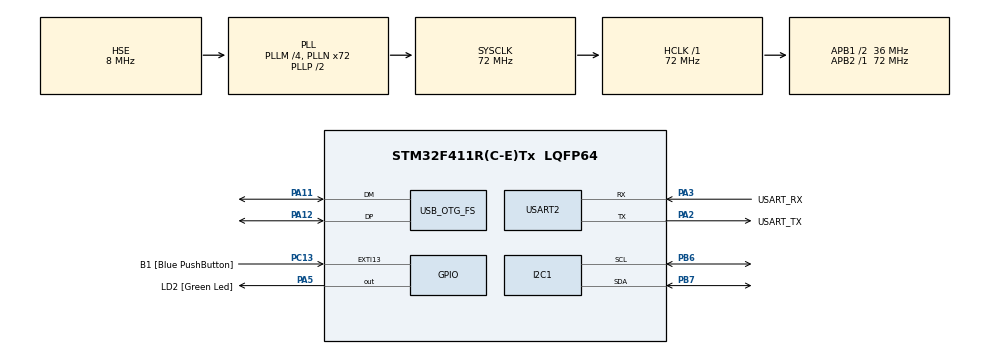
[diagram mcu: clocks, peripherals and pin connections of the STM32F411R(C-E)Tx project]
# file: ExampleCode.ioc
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FREERTOS.Events01=TasksInit,Dynamic,NULL
FREERTOS.Mutexes01=screenMutex,Dynamic,NULL,Available
FREERTOS.Queues01=screenQueue,8,TASK_SCREEN_MESSAGE_,0,Dynamic,NULL,NULL
FREERTOS.Tasks01=defaultTask,24,128,StartDefaultTask,Default,NULL,Dynamic,NULL,NULL;screenTask,8,128,StartScreenTask,Default,NULL,Dynamic,NULL,NULL
FREERTOS.configUSE_NEWLIB_REENTRANT=1
Mcu.Family=STM32F4
Mcu.Name=STM32F411R(C-E)Tx
Mcu.Package=LQFP64
NVIC.OTG_FS_IRQn=true\:5\:0\:false\:false\:true\:true\:false\:true\:true
NVIC.PriorityGroup=NVIC_PRIORITYGROUP_4
NVIC.TIM1_TRG_COM_TIM11_IRQn=true\:15\:0\:false\:false\:true\:false\:false\:true\:true
NVIC.TimeBase=TIM1_TRG_COM_TIM11_IRQn
NVIC.TimeBaseIP=TIM11
PA11.Mode=Device_Only
PA11.Signal=USB_OTG_FS_DM
PA12.Mode=Device_Only
PA12.Signal=USB_OTG_FS_DP
PA13.GPIO_Label=TMS
PA13.Mode=Serial_Wire
PA13.Signal=SYS_JTMS-SWDIO
PA14.GPIO_Label=TCK
PA14.Mode=Serial_Wire
PA14.Signal=SYS_JTCK-SWCLK
PA2.GPIO_Label=USART_TX
PA2.Mode=Asynchronous
PA2.Signal=USART2_TX
PA3.GPIO_Label=USART_RX
PA3.Mode=Asynchronous
PA3.Signal=USART2_RX
PA5.GPIO_Label=LD2 [Green Led]
PA5.Signal=GPIO_Output
PB3.GPIO_Label=SWO
PB3.Signal=SYS_JTDO-SWO
PB6.Mode=I2C
PB6.Signal=I2C1_SCL
PB7.Mode=I2C
PB7.Signal=I2C1_SDA
PC13-ANTI_TAMP.GPIO_Label=B1 [Blue PushButton]
PC13-ANTI_TAMP.GPIO_ModeDefaultEXTI=GPIO_MODE_IT_FALLING
PC13-ANTI_TAMP.Signal=GPXTI13
PC14-OSC32_IN.Mode=LSE-External-Oscillator
PC14-OSC32_IN.Signal=RCC_OSC32_IN
PC15-OSC32_OUT.Mode=LSE-External-Oscillator
PC15-OSC32_OUT.Signal=RCC_OSC32_OUT
PH0\ -\ OSC_IN.Mode=HSE-External-Clock-Source
PH0\ -\ OSC_IN.Signal=RCC_OSC_IN
PH1\ -\ OSC_OUT.Mode=HSE-External-Clock-Source
PH1\ -\ OSC_OUT.Signal=RCC_OSC_OUT
ProjectManager.HeapSize=0x200
ProjectManager.StackSize=0x400
ProjectManager.TargetToolchain=STM32CubeIDE
RCC.48MHZClocksFreq_Value=48000000
RCC.AHBFreq_Value=72000000
RCC.APB1CLKDivider=RCC_HCLK_DIV2
RCC.APB1Freq_Value=36000000
RCC.APB1TimFreq_Value=72000000
RCC.APB2Freq_Value=72000000
RCC.APB2TimFreq_Value=72000000
RCC.CortexFreq_Value=72000000
RCC.FLatency-AdvancedSettings=FLASH_LATENCY_2
RCC.HCLKFreq_Value=72000000
RCC.HSE_VALUE=8000000
RCC.HSI_VALUE=16000000
RCC.PLLM=4
RCC.PLLN=72
RCC.PLLQ=3
RCC.SYSCLKFreq_VALUE=72000000
RCC.SYSCLKSource=RCC_SYSCLKSOURCE_PLLCLK
RCC.VCOOutputFreq_Value=144000000
USART2.VirtualMode=VM_ASYNC
USB_DEVICE.CLASS_NAME_FS=CDC
USB_DEVICE.VirtualMode=Cdc
USB_DEVICE.VirtualModeFS=Cdc_FS
USB_OTG_FS.VirtualMode=Device_Only
VP_FREERTOS_VS_CMSIS_V2.Mode=CMSIS_V2
VP_SYS_VS_tim11.Mode=TIM11
VP_USB_DEVICE_VS_USB_DEVICE_CDC_FS.Mode=CDC_FS
board=NUCLEO-F411RE

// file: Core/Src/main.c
/* USER CODE BEGIN Header */
/**
  ******************************************************************************
  * @file           : main.c
  * @brief          : Main program body
  ******************************************************************************
  * @attention
  *
  * Copyright (c) 2024 STMicroelectronics.
  * All rights reserved.
  *
  * This software is licensed under terms that can be found in the LICENSE file
  * in the root directory of this software component.
  * If no LICENSE file comes with this software, it is provided AS-IS.
  *
  ******************************************************************************
  */
/* USER CODE END Header */
#include "main.h"
#include "cmsis_os.h"
#include "usb_device.h"

/* USER CODE BEGIN Includes */
#include "screen_task.h"
#include "stdio.h"
/* USER CODE END Includes */

/* USER CODE BEGIN PM */
#define TASK_SCREEN_INIT 0x00000001
#define TASKS_ALL TASK_SCREEN_INIT
/* USER CODE END PM */

I2C_HandleTypeDef hi2c1;

UART_HandleTypeDef huart2;

/* Definitions for defaultTask */
osThreadId_t defaultTaskHandle;
const osThreadAttr_t defaultTask_attributes = {
  .name = "defaultTask",
  .stack_size = 128 * 4,
  .priority = (osPriority_t) osPriorityNormal,
};
/* Definitions for screenTask */
osThreadId_t screenTaskHandle;
const osThreadAttr_t screenTask_attributes = {
  .name = "screenTask",
  .stack_size = 128 * 4,
  .priority = (osPriority_t) osPriorityLow,
};
/* Definitions for screenQueue */
osMessageQueueId_t screenQueueHandle;
const osMessageQueueAttr_t screenQueue_attributes = {
  .name = "screenQueue"
};
/* Definitions for screenMutex */
osMutexId_t screenMutexHandle;
const osMutexAttr_t screenMutex_attributes = {
  .name = "screenMutex"
};
/* Definitions for TasksInit */
osEventFlagsId_t TasksInitHandle;
const osEventFlagsAttr_t TasksInit_attributes = {
  .name = "TasksInit"
};

void SystemClock_Config(void);
static void MX_GPIO_Init(void);
static void MX_USART2_UART_Init(void);
static void MX_I2C1_Init(void);
void StartDefaultTask(void *argument);
void StartScreenTask(void *argument);

int main(void)
{

  /* MCU Configuration--------------------------------------------------------*/

  /* Reset of all peripherals, Initializes the Flash interface and the Systick. */
  HAL_Init();

  /* Configure the system clock */
  SystemClock_Config();

  /* Initialize all configured peripherals */
  MX_GPIO_Init();
  MX_USART2_UART_Init();
  MX_I2C1_Init();

  /* Init scheduler */
  osKernelInitialize();
  /* Create the mutex(es) */
  /* creation of screenMutex */
  screenMutexHandle = osMutexNew(&screenMutex_attributes);

  /* Create the queue(s) */
  /* creation of screenQueue */
  screenQueueHandle = osMessageQueueNew (8, sizeof(TASK_SCREEN_MESSAGE_), &screenQueue_attributes);

  /* Create the thread(s) */
  /* creation of defaultTask */
  defaultTaskHandle = osThreadNew(StartDefaultTask, NULL, &defaultTask_attributes);

  /* creation of screenTask */
  screenTaskHandle = osThreadNew(StartScreenTask, NULL, &screenTask_attributes);

  /* creation of TasksInit */
  TasksInitHandle = osEventFlagsNew(&TasksInit_attributes);

  /* Start scheduler */
  osKernelStart();

  /* We should never get here as control is now taken by the scheduler */

  /* Infinite loop */
  while (1)
  {

  }
}

void SystemClock_Config(void)
{
  RCC_OscInitTypeDef RCC_OscInitStruct = {0};
  RCC_ClkInitTypeDef RCC_ClkInitStruct = {0};

  /** Configure the main internal regulator output voltage
  */
  __HAL_RCC_PWR_CLK_ENABLE();
  __HAL_PWR_VOLTAGESCALING_CONFIG(PWR_REGULATOR_VOLTAGE_SCALE1);

  /** Initializes the RCC Oscillators according to the specified parameters
  * in the RCC_OscInitTypeDef structure.
  */
  RCC_OscInitStruct.OscillatorType = RCC_OSCILLATORTYPE_HSE;
  RCC_OscInitStruct.HSEState = RCC_HSE_BYPASS;
  RCC_OscInitStruct.PLL.PLLState = RCC_PLL_ON;
  RCC_OscInitStruct.PLL.PLLSource = RCC_PLLSOURCE_HSE;
  RCC_OscInitStruct.PLL.PLLM = 4;
  RCC_OscInitStruct.PLL.PLLN = 72;
  RCC_OscInitStruct.PLL.PLLP = RCC_PLLP_DIV2;
  RCC_OscInitStruct.PLL.PLLQ = 3;
  if (HAL_RCC_OscConfig(&RCC_OscInitStruct) != HAL_OK)
  {
    Error_Handler();
  }

  /** Initializes the CPU, AHB and APB buses clocks
  */
  RCC_ClkInitStruct.ClockType = RCC_CLOCKTYPE_HCLK|RCC_CLOCKTYPE_SYSCLK
                              |RCC_CLOCKTYPE_PCLK1|RCC_CLOCKTYPE_PCLK2;
  RCC_ClkInitStruct.SYSCLKSource = RCC_SYSCLKSOURCE_PLLCLK;
  RCC_ClkInitStruct.AHBCLKDivider = RCC_SYSCLK_DIV1;
  RCC_ClkInitStruct.APB1CLKDivider = RCC_HCLK_DIV2;
  RCC_ClkInitStruct.APB2CLKDivider = RCC_HCLK_DIV1;

  if (HAL_RCC_ClockConfig(&RCC_ClkInitStruct, FLASH_LATENCY_2) != HAL_OK)
  {
    Error_Handler();
  }
}

static void MX_I2C1_Init(void)
{

  hi2c1.Instance = I2C1;
  hi2c1.Init.ClockSpeed = 100000;
  hi2c1.Init.DutyCycle = I2C_DUTYCYCLE_2;
  hi2c1.Init.OwnAddress1 = 0;
  hi2c1.Init.AddressingMode = I2C_ADDRESSINGMODE_7BIT;
  hi2c1.Init.DualAddressMode = I2C_DUALADDRESS_DISABLE;
  hi2c1.Init.OwnAddress2 = 0;
  hi2c1.Init.GeneralCallMode = I2C_GENERALCALL_DISABLE;
  hi2c1.Init.NoStretchMode = I2C_NOSTRETCH_DISABLE;
  if (HAL_I2C_Init(&hi2c1) != HAL_OK)
  {
    Error_Handler();
  }

}

static void MX_USART2_UART_Init(void)
{

  huart2.Instance = USART2;
  huart2.Init.BaudRate = 115200;
  huart2.Init.WordLength = UART_WORDLENGTH_8B;
  huart2.Init.StopBits = UART_STOPBITS_1;
  huart2.Init.Parity = UART_PARITY_NONE;
  huart2.Init.Mode = UART_MODE_TX_RX;
  huart2.Init.HwFlowCtl = UART_HWCONTROL_NONE;
  huart2.Init.OverSampling = UART_OVERSAMPLING_16;
  if (HAL_UART_Init(&huart2) != HAL_OK)
  {
    Error_Handler();
  }

}

static void MX_GPIO_Init(void)
{
  GPIO_InitTypeDef GPIO_InitStruct = {0};

  /* GPIO Ports Clock Enable */
  __HAL_RCC_GPIOC_CLK_ENABLE();
  __HAL_RCC_GPIOH_CLK_ENABLE();
  __HAL_RCC_GPIOA_CLK_ENABLE();
  __HAL_RCC_GPIOB_CLK_ENABLE();

  /*Configure GPIO pin Output Level */
  HAL_GPIO_WritePin(LD2_GPIO_Port, LD2_Pin, GPIO_PIN_RESET);

  /*Configure GPIO pin : B1_Pin */
  GPIO_InitStruct.Pin = B1_Pin;
  GPIO_InitStruct.Mode = GPIO_MODE_IT_FALLING;
  GPIO_InitStruct.Pull = GPIO_NOPULL;
  HAL_GPIO_Init(B1_GPIO_Port, &GPIO_InitStruct);

  /*Configure GPIO pin : LD2_Pin */
  GPIO_InitStruct.Pin = LD2_Pin;
  GPIO_InitStruct.Mode = GPIO_MODE_OUTPUT_PP;
  GPIO_InitStruct.Pull = GPIO_NOPULL;
  GPIO_InitStruct.Speed = GPIO_SPEED_FREQ_LOW;
  HAL_GPIO_Init(LD2_GPIO_Port, &GPIO_InitStruct);

}

void StartDefaultTask(void *argument)
{
  /* init code for USB_DEVICE */
  MX_USB_DEVICE_Init();
  /* USER CODE BEGIN 5 */
  osEventFlagsClear(TasksInitHandle,TASKS_ALL);
  while(osEventFlagsWait(TasksInitHandle,TASKS_ALL,osFlagsNoClear,0) != TASKS_ALL)
  {
	  //HAL_IWDG_Refresh(&hiwdg);
	  osDelay(1);
  }
  static GPIO_PinState state = GPIO_PIN_SET;
  /* Infinite loop */
  for(;;)
  {
	  switch(HAL_GPIO_ReadPin(B1_GPIO_Port,B1_Pin))
	  {
	  case GPIO_PIN_RESET:
		  {
			  TASK_SCREEN_MESSAGE_ tmp = {0};
			  HAL_GPIO_WritePin(LD2_GPIO_Port, LD2_Pin, GPIO_PIN_SET);
			  if(state != GPIO_PIN_SET)
			  {
				  tmp.col_start = 0;
				  tmp.col_end = 15;
				  tmp.row = 1;
				  sprintf((void *)&tmp.column[0],"PRESSED");
				  TASK_SCREEN_UpdateScreen(&tmp);
			  }
			  state = GPIO_PIN_SET;
			  break;
		  }
	  case GPIO_PIN_SET:
	  default:
		  {
			  TASK_SCREEN_MESSAGE_ tmp = {0};
			  HAL_GPIO_WritePin(LD2_GPIO_Port, LD2_Pin, GPIO_PIN_RESET);
			  if(state != GPIO_PIN_RESET)
			  {
				  tmp.col_start = 0;
				  tmp.col_end = 15;
				  tmp.row = 1;
				  sprintf((void *)&tmp.column[0],"RELEASED");
				  TASK_SCREEN_UpdateScreen(&tmp);
			  }
			  state = GPIO_PIN_RESET;
			  break;
		  }
	  }
	  osDelay(1);
	  //HAL_IWDG_Refresh(&hiwdg);
  }
  /* USER CODE END 5 */
}

void StartScreenTask(void *argument)
{
  /* USER CODE BEGIN StartScreenTask */
  /* Infinite loop */
  TASK_SCREEN_Init(&hi2c1,
		  	  	   (void *)&screenQueueHandle,
				   (void *)&screenMutexHandle);
  osEventFlagsSet(TasksInitHandle,TASK_SCREEN_INIT);
  for(;;)
  {
	TASK_SCREEN_Run();
  }
  /* USER CODE END StartScreenTask */
}

void HAL_TIM_PeriodElapsedCallback(TIM_HandleTypeDef *htim)
{
  if (htim->Instance == TIM11) {
    HAL_IncTick();
  }
}

void Error_Handler(void)
{
  __disable_irq();
  while (1)
  {
  }
}
